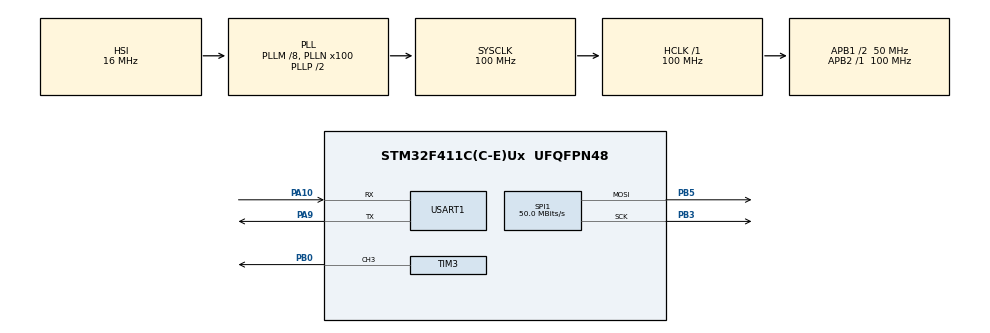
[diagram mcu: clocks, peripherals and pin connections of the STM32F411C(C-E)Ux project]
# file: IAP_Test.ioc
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Mcu.Family=STM32F4
Mcu.Name=STM32F411C(C-E)Ux
Mcu.Package=UFQFPN48
NVIC.PriorityGroup=NVIC_PRIORITYGROUP_4
PA10.Mode=Asynchronous
PA10.Signal=USART1_RX
PA13.Mode=Serial_Wire
PA13.Signal=SYS_JTMS-SWDIO
PA14.Mode=Serial_Wire
PA14.Signal=SYS_JTCK-SWCLK
PA9.Mode=Asynchronous
PA9.Signal=USART1_TX
PB0.Signal=S_TIM3_CH3
PB3.Mode=TX_Only_Simplex_Unidirect_Master
PB3.Signal=SPI1_SCK
PB5.Mode=TX_Only_Simplex_Unidirect_Master
PB5.Signal=SPI1_MOSI
ProjectManager.HeapSize=0x200
ProjectManager.StackSize=0x400
ProjectManager.TargetToolchain=MDK-ARM V5.32
RCC.48MHZClocksFreq_Value=50000000
RCC.AHBFreq_Value=100000000
RCC.APB1CLKDivider=RCC_HCLK_DIV2
RCC.APB1Freq_Value=50000000
RCC.APB1TimFreq_Value=100000000
RCC.APB2Freq_Value=100000000
RCC.APB2TimFreq_Value=100000000
RCC.CortexFreq_Value=100000000
RCC.HCLKFreq_Value=100000000
RCC.HSE_VALUE=25000000
RCC.HSI_VALUE=16000000
RCC.PLLM=8
RCC.PLLN=100
RCC.SYSCLKFreq_VALUE=100000000
RCC.SYSCLKSource=RCC_SYSCLKSOURCE_PLLCLK
RCC.VCOOutputFreq_Value=200000000
SH.S_TIM3_CH3.0=TIM3_CH3,PWM Generation3 CH3
SPI1.CalculateBaudRate=50.0 MBits/s
SPI1.Direction=SPI_DIRECTION_2LINES
SPI1.Mode=SPI_MODE_MASTER
SPI1.VirtualType=VM_MASTER
TIM3.Channel-PWM\ Generation3\ CH3=TIM_CHANNEL_3
TIM3.Prescaler=100-1
USART1.VirtualMode=VM_ASYNC
board=custom

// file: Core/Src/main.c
/* USER CODE BEGIN Header */
/**
  ******************************************************************************
  * @file           : main.c
  * @brief          : Main program body
  ******************************************************************************
  * @attention
  *
  * Copyright (c) 2026 STMicroelectronics.
  * All rights reserved.
  *
  * This software is licensed under terms that can be found in the LICENSE file
  * in the root directory of this software component.
  * If no LICENSE file comes with this software, it is provided AS-IS.
  *
  ******************************************************************************
  */
/* USER CODE END Header */
#include "main.h"
#include "spi.h"
#include "tim.h"
#include "usart.h"
#include "gpio.h"
#include "WDOG.h"
#include "lcd.h"
#include "lcd_init.h"
#include "delay.h"
#include "WDOG.h"
#include "KT6328.h"
#include "key.h"

void SystemClock_Config(void);

int main(void)
{

  /* USER CODE BEGIN 1 */
	SCB->VTOR = 0x0800C000U;
	WDOG_Feed();
	__HAL_RCC_PWR_CLK_ENABLE();
	HAL_PWR_EnableBkUpAccess();
	RTC->BKP0R = 0;
	HAL_PWR_DisableBkUpAccess();

  /* USER CODE END 1 */

  /* MCU Configuration--------------------------------------------------------*/

  /* Reset of all peripherals, Initializes the Flash interface and the Systick. */
  HAL_Init();

  /* Configure the system clock */
  SystemClock_Config();

  /* Initialize all configured peripherals */
  MX_GPIO_Init();
  MX_SPI1_Init();
  MX_TIM3_Init();
  MX_USART1_UART_Init();
  /* USER CODE BEGIN 2 */

	//sys delay
	delay_init();

  //key
	Key_Port_Init();

	//BLE
	KT6328_GPIO_Init();
	KT6328_Enable();

  //WDOG
  WDOG_Port_Init();
  WDOG_Disnable();

	//PWM Start
	HAL_TIM_PWM_Start(&htim3, TIM_CHANNEL_3);

	//lcd
	LCD_Init();
	LCD_Fill(0, 0, LCD_W, LCD_H, BLACK);
	delay_ms(10);
	LCD_Set_Light(50);

	LCD_ShowString(14, LCD_H/2, (uint8_t*)"Welcome TO sichuan!", WHITE, BLACK, 24, 0);//12*6,16*8,24*12,32*16
    LCD_ShowString(100, LCD_H/2+48, (uint8_t*)"BTEST", WHITE, BLACK, 24, 0);

  /* USER CODE END 2 */

  /* Infinite loop */
  while (1)
  {
    WDOG_Feed();
	  HAL_Delay(1000);
  }
}

void SystemClock_Config(void)
{
  RCC_OscInitTypeDef RCC_OscInitStruct = {0};
  RCC_ClkInitTypeDef RCC_ClkInitStruct = {0};

  /** Configure the main internal regulator output voltage
  */
  __HAL_RCC_PWR_CLK_ENABLE();
  __HAL_PWR_VOLTAGESCALING_CONFIG(PWR_REGULATOR_VOLTAGE_SCALE1);

  /** Initializes the RCC Oscillators according to the specified parameters
  * in the RCC_OscInitTypeDef structure.
  */
  RCC_OscInitStruct.OscillatorType = RCC_OSCILLATORTYPE_HSI;
  RCC_OscInitStruct.HSIState = RCC_HSI_ON;
  RCC_OscInitStruct.HSICalibrationValue = RCC_HSICALIBRATION_DEFAULT;
  RCC_OscInitStruct.PLL.PLLState = RCC_PLL_ON;
  RCC_OscInitStruct.PLL.PLLSource = RCC_PLLSOURCE_HSI;
  RCC_OscInitStruct.PLL.PLLM = 8;
  RCC_OscInitStruct.PLL.PLLN = 100;
  RCC_OscInitStruct.PLL.PLLP = RCC_PLLP_DIV2;
  RCC_OscInitStruct.PLL.PLLQ = 4;
  if (HAL_RCC_OscConfig(&RCC_OscInitStruct) != HAL_OK)
  {
    Error_Handler();
  }

  /** Initializes the CPU, AHB and APB buses clocks
  */
  RCC_ClkInitStruct.ClockType = RCC_CLOCKTYPE_HCLK|RCC_CLOCKTYPE_SYSCLK
                              |RCC_CLOCKTYPE_PCLK1|RCC_CLOCKTYPE_PCLK2;
  RCC_ClkInitStruct.SYSCLKSource = RCC_SYSCLKSOURCE_PLLCLK;
  RCC_ClkInitStruct.AHBCLKDivider = RCC_SYSCLK_DIV1;
  RCC_ClkInitStruct.APB1CLKDivider = RCC_HCLK_DIV2;
  RCC_ClkInitStruct.APB2CLKDivider = RCC_HCLK_DIV1;

  if (HAL_RCC_ClockConfig(&RCC_ClkInitStruct, FLASH_LATENCY_3) != HAL_OK)
  {
    Error_Handler();
  }
}

void Error_Handler(void)
{
  __disable_irq();
  while (1)
  {
  }
}
